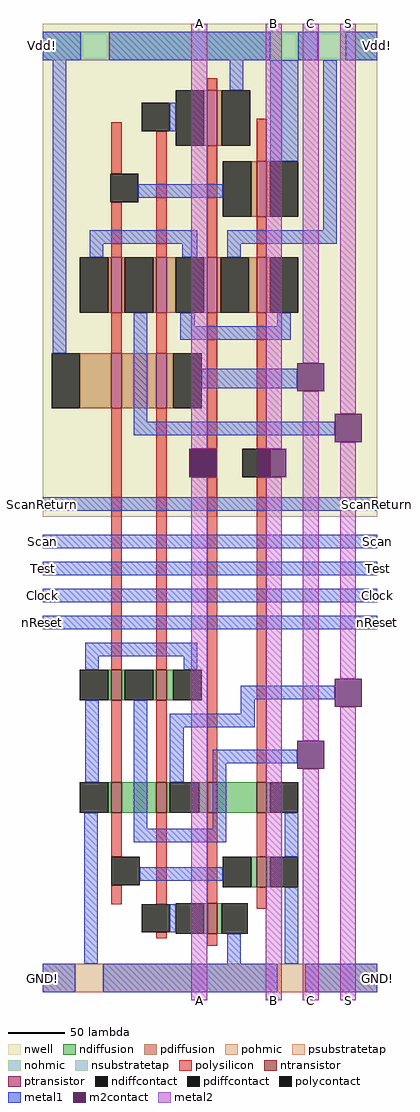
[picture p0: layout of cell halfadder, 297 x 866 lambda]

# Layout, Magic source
magic
tech tsmc180
<< nwell >>
rect 0 429 297 866
<< polysilicon >>
rect 146 807 155 818
rect 61 733 70 779
rect 61 659 70 708
rect 101 659 110 771
rect 146 659 155 758
rect 190 744 199 782
rect 190 659 199 695
rect 61 574 70 610
rect 101 574 110 610
rect 61 293 70 525
rect 101 293 110 525
rect 146 489 155 610
rect 190 489 199 610
rect 61 193 70 266
rect 101 193 110 266
rect 146 193 155 464
rect 190 193 199 464
rect 61 127 70 166
rect 61 85 70 102
rect 101 85 110 166
rect 146 86 155 166
rect 190 127 199 166
rect 101 55 110 60
rect 190 81 199 100
rect 146 48 155 59
<< ndiffusion >>
rect 58 266 61 293
rect 70 266 73 293
rect 98 266 101 293
rect 110 266 116 293
rect 58 166 61 193
rect 70 166 101 193
rect 110 166 113 193
rect 139 166 146 193
rect 155 166 190 193
rect 199 166 202 193
rect 185 100 190 127
rect 199 100 202 127
rect 143 59 146 86
rect 155 59 159 86
<< pdiffusion >>
rect 143 758 146 807
rect 155 758 159 807
rect 185 695 190 744
rect 199 695 202 744
rect 58 610 61 659
rect 70 610 73 659
rect 98 610 101 659
rect 110 610 118 659
rect 143 610 146 659
rect 155 610 158 659
rect 183 610 190 659
rect 199 610 202 659
rect 33 525 61 574
rect 70 525 101 574
rect 110 525 116 574
<< pohmic >>
rect 0 7 29 32
rect 54 7 208 32
rect 233 7 297 32
<< nohmic >>
rect 0 834 34 859
rect 59 834 202 859
rect 227 834 244 859
rect 269 834 297 859
<< ntransistor >>
rect 61 266 70 293
rect 101 266 110 293
rect 61 166 70 193
rect 101 166 110 193
rect 146 166 155 193
rect 190 166 199 193
rect 190 100 199 127
rect 146 59 155 86
<< ptransistor >>
rect 146 758 155 807
rect 190 695 199 744
rect 61 610 70 659
rect 101 610 110 659
rect 146 610 155 659
rect 190 610 199 659
rect 61 525 70 574
rect 101 525 110 574
<< polycontact >>
rect 88 771 113 796
rect 60 708 85 733
rect 130 464 155 489
rect 177 464 202 489
rect 61 102 86 127
rect 88 60 113 85
<< ndiffcontact >>
rect 33 266 58 293
rect 73 266 98 293
rect 116 266 141 293
rect 33 166 58 193
rect 113 166 139 193
rect 202 166 227 193
rect 160 100 185 127
rect 202 100 227 127
rect 118 59 143 86
rect 159 59 182 86
<< pdiffcontact >>
rect 118 758 143 807
rect 159 758 184 807
rect 160 695 185 744
rect 202 695 227 744
rect 33 610 58 659
rect 73 610 98 659
rect 118 610 143 659
rect 158 610 183 659
rect 202 610 227 659
rect 8 525 33 574
rect 116 525 141 574
<< psubstratetap >>
rect 29 7 54 32
rect 208 7 233 32
<< nsubstratetap >>
rect 34 834 59 859
rect 202 834 227 859
rect 244 834 269 859
<< metal1 >>
rect 0 834 34 859
rect 59 834 202 859
rect 227 834 244 859
rect 269 834 297 859
rect 9 574 21 834
rect 166 807 178 834
rect 113 771 118 796
rect 202 744 227 834
rect 85 712 160 724
rect 249 683 261 834
rect 42 671 137 683
rect 42 659 54 671
rect 124 659 137 671
rect 164 671 261 683
rect 164 659 176 671
rect 81 513 93 610
rect 122 598 135 610
rect 208 598 220 610
rect 122 586 220 598
rect 141 543 226 560
rect 81 501 259 513
rect 0 434 297 446
rect 0 401 297 413
rect 0 377 297 389
rect 0 353 297 365
rect 0 329 297 341
rect 38 305 137 317
rect 38 293 50 305
rect 125 293 137 305
rect 176 267 259 279
rect 38 193 50 266
rect 37 32 49 166
rect 81 152 93 266
rect 176 254 188 267
rect 113 242 188 254
rect 113 193 125 242
rect 151 210 226 222
rect 151 152 163 210
rect 81 140 163 152
rect 215 127 227 166
rect 86 106 160 118
rect 113 60 118 85
rect 164 32 176 59
rect 215 32 227 100
rect 0 7 29 32
rect 54 7 208 32
rect 233 7 297 32
<< m2contact >>
rect 226 540 250 565
rect 259 495 283 520
rect 130 464 155 489
rect 191 464 202 489
rect 202 464 216 489
rect 259 260 283 285
rect 226 205 250 230
<< metal2 >>
rect 132 489 146 866
rect 198 489 212 866
rect 231 565 245 866
rect 132 0 146 464
rect 198 0 212 464
rect 231 230 245 540
rect 264 520 278 866
rect 264 285 278 495
rect 231 0 245 205
rect 264 0 278 260
<< labels >>
rlabel metal1 0 329 0 341 3 nReset
rlabel metal1 0 353 0 365 3 Clock
rlabel metal1 0 377 0 389 3 Test
rlabel metal1 0 434 0 446 3 ScanReturn
rlabel metal1 0 401 0 413 3 Scan
rlabel metal1 0 834 0 859 3 Vdd!
rlabel metal1 0 7 0 32 3 GND!
rlabel metal2 132 0 146 0 1 A
rlabel metal2 132 866 146 866 5 A
rlabel metal2 198 0 212 0 1 B
rlabel metal2 198 866 212 866 5 B
rlabel metal2 231 0 245 0 1 C
rlabel metal2 231 866 245 866 5 C
rlabel metal1 297 834 297 859 7 Vdd!
rlabel metal1 297 434 297 446 7 ScanReturn
rlabel metal1 297 401 297 413 7 Scan
rlabel metal1 297 377 297 389 7 Test
rlabel metal1 297 353 297 365 7 Clock
rlabel metal1 297 329 297 341 7 nReset
rlabel metal1 297 7 297 32 7 GND!
rlabel metal2 264 0 278 0 1 S
rlabel metal2 264 866 278 866 5 S
<< end >>
